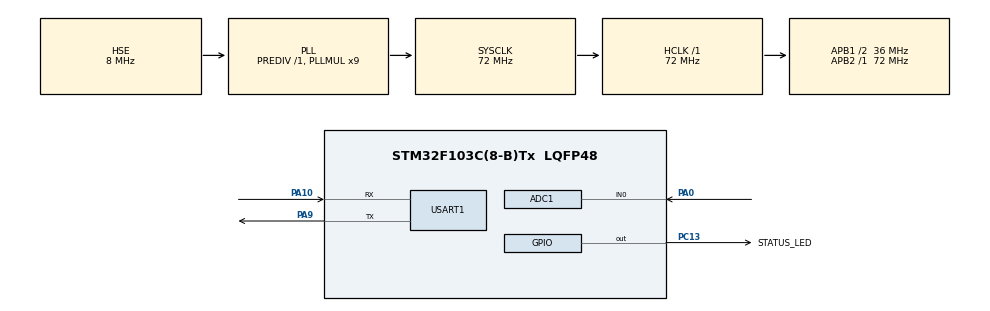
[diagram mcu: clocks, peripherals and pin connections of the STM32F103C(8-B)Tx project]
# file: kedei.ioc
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ADC1.Channel-0\#ChannelRegularConversion=ADC_CHANNEL_0
ADC1.ContinuousConvMode=DISABLE
ADC1.DataAlign=ADC_DATAALIGN_RIGHT
ADC1.DiscontinuousConvMode=DISABLE
ADC1.EnableAnalogWatchDog=false
ADC1.EnableRegularConversion=ENABLE
ADC1.ExternalTrigConv=ADC_EXTERNALTRIGCONV_T3_TRGO
ADC1.InjNumberOfConversion=0
ADC1.NbrOfConversion=1
ADC1.NbrOfConversionFlag=1
ADC1.Rank-0\#ChannelRegularConversion=1
ADC1.SamplingTime-0\#ChannelRegularConversion=ADC_SAMPLETIME_1CYCLE_5
ADC1.ScanConvMode=ADC_SCAN_DISABLE
ADC1.master=1
Dma.MEMTOMEM.0.Direction=DMA_MEMORY_TO_MEMORY
Dma.MEMTOMEM.0.Instance=DMA1_Channel1
Dma.MEMTOMEM.0.MemDataAlignment=DMA_MDATAALIGN_BYTE
Dma.MEMTOMEM.0.MemInc=DMA_MINC_ENABLE
Dma.MEMTOMEM.0.Mode=DMA_NORMAL
Dma.MEMTOMEM.0.PeriphDataAlignment=DMA_PDATAALIGN_BYTE
Dma.MEMTOMEM.0.PeriphInc=DMA_PINC_ENABLE
Dma.MEMTOMEM.0.Priority=DMA_PRIORITY_LOW
Dma.Request0=MEMTOMEM
Mcu.Family=STM32F1
Mcu.Name=STM32F103C(8-B)Tx
Mcu.Package=LQFP48
NVIC.PriorityGroup=NVIC_PRIORITYGROUP_4
NVIC.TIM3_IRQn=true\:0\:0\:false\:false\:true
PA0-WKUP.Signal=ADCx_IN0
PA10.Mode=Asynchronous
PA10.Signal=USART1_RX
PA13.Mode=Serial_Wire
PA13.Signal=SYS_JTMS-SWDIO
PA14.Mode=Serial_Wire
PA14.Signal=SYS_JTCK-SWCLK
PA9.Mode=Asynchronous
PA9.Signal=USART1_TX
PC13-TAMPER-RTC.GPIO_Label=STATUS_LED
PC13-TAMPER-RTC.Signal=GPIO_Output
PD0-OSC_IN.Mode=HSE-External-Oscillator
PD0-OSC_IN.Signal=RCC_OSC_IN
PD1-OSC_OUT.Mode=HSE-External-Oscillator
PD1-OSC_OUT.Signal=RCC_OSC_OUT
ProjectManager.HeapSize=0x200
ProjectManager.StackSize=0x400
ProjectManager.TargetToolchain=Makefile
RCC.ADCPresc=RCC_ADCPCLK2_DIV6
RCC.AHBFreq_Value=72000000
RCC.APB1CLKDivider=RCC_HCLK_DIV2
RCC.APB1Freq_Value=36000000
RCC.APB1TimFreq_Value=72000000
RCC.APB2Freq_Value=72000000
RCC.APB2TimFreq_Value=72000000
RCC.HCLKFreq_Value=72000000
RCC.PLLMUL=RCC_PLL_MUL9
RCC.PLLSourceVirtual=RCC_PLLSOURCE_HSE
RCC.SYSCLKFreq_VALUE=72000000
RCC.SYSCLKSource=RCC_SYSCLKSOURCE_PLLCLK
RCC.USBFreq_Value=72000000
SH.ADCx_IN0.0=ADC1_IN0,IN0
TIM3.Period=10
TIM3.Prescaler=72-1
TIM3.TIM_MasterOutputTrigger=TIM_TRGO_UPDATE
USART1.VirtualMode=VM_ASYNC
VP_TIM3_VS_ClockSourceINT.Mode=Internal
board=kedei

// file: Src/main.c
/**
  ******************************************************************************
  * File Name          : main.c
  * Description        : Main program body
  ******************************************************************************
  ** This notice applies to any and all portions of this file
  * that are not between comment pairs USER CODE BEGIN and
  * USER CODE END. Other portions of this file, whether
  * inserted by the user or by software development tools
  * are owned by their respective copyright owners.
  *
  * COPYRIGHT(c) 2018 STMicroelectronics
  *
  * Redistribution and use in source and binary forms, with or without modification,
  * are permitted provided that the following conditions are met:
  *   1. Redistributions of source code must retain the above copyright notice,
  *      this list of conditions and the following disclaimer.
  *   2. Redistributions in binary form must reproduce the above copyright notice,
  *      this list of conditions and the following disclaimer in the documentation
  *      and/or other materials provided with the distribution.
  *   3. Neither the name of STMicroelectronics nor the names of its contributors
  *      may be used to endorse or promote products derived from this software
  *      without specific prior written permission.
  *
  * THIS SOFTWARE IS PROVIDED BY THE COPYRIGHT HOLDERS AND CONTRIBUTORS "AS IS"
  * AND ANY EXPRESS OR IMPLIED WARRANTIES, INCLUDING, BUT NOT LIMITED TO, THE
  * IMPLIED WARRANTIES OF MERCHANTABILITY AND FITNESS FOR A PARTICULAR PURPOSE ARE
  * DISCLAIMED. IN NO EVENT SHALL THE COPYRIGHT HOLDER OR CONTRIBUTORS BE LIABLE
  * FOR ANY DIRECT, INDIRECT, INCIDENTAL, SPECIAL, EXEMPLARY, OR CONSEQUENTIAL
  * DAMAGES (INCLUDING, BUT NOT LIMITED TO, PROCUREMENT OF SUBSTITUTE GOODS OR
  * SERVICES; LOSS OF USE, DATA, OR PROFITS; OR BUSINESS INTERRUPTION) HOWEVER
  * CAUSED AND ON ANY THEORY OF LIABILITY, WHETHER IN CONTRACT, STRICT LIABILITY,
  * OR TORT (INCLUDING NEGLIGENCE OR OTHERWISE) ARISING IN ANY WAY OUT OF THE USE
  * OF THIS SOFTWARE, EVEN IF ADVISED OF THE POSSIBILITY OF SUCH DAMAGE.
  *
  ******************************************************************************
  */
#include "main.h"
#include "stm32f1xx_hal.h"
#include "adc.h"
#include "dma.h"
#include "tim.h"
#include "usart.h"
#include "gpio.h"

/* USER CODE BEGIN Includes */
#include "SetSysClockTo128.h"
#include "pins_ext.h"
#include "bit_band.h"
#include "soft_spi.h"
#include <math.h>
// #include <stdlib.h>
#include "kedei.h"
#include "xpt2046.h"
#include "draw.h"
#include "utoa.h"

#define M_PI 3.14159

void stled_on(void)
{
  HAL_GPIO_WritePin(STATUS_LED_GPIO_Port, STATUS_LED_Pin, GPIO_PIN_SET);
}

void stled_off(void)
{
  HAL_GPIO_WritePin(STATUS_LED_GPIO_Port, STATUS_LED_Pin, GPIO_PIN_RESET);
}

/* USER CODE END Includes */

/* USER CODE BEGIN PV */
/* Private variables ---------------------------------------------------------*/
uint16_t ofset_ray=18; // vertical ofset ray variable by Src/draw.c
uint16_t accuracy=128; // speed - accuracy ray
uint16_t touch_pressed = 0; // if pressed

extern bitband_t mosi;
extern bitband_t clock;
extern bitband_t miso;
//extern bitband_t lcd_rst;
extern bitband_t lcd_cs;
extern bitband_t lcd_dc;
extern bitband_t tch_cs;

extern bitband_t touch_cs;
extern bitband_t mosi_2;
extern bitband_t miso_2;
extern bitband_t clock_2;

/* USER CODE END PV */

void SystemClock_Config(void);

/* USER CODE BEGIN PFP */
/* Private function prototypes -----------------------------------------------*/

/* USER CODE END PFP */

int main(void)
{

  /* MCU Configuration----------------------------------------------------------*/

  /* Reset of all peripherals, Initializes the Flash interface and the Systick. */
  HAL_Init();

  /* USER CODE BEGIN Init */

/*
connect:
     ----------------------------
   | B5       B9                 | stm32
   |  |        |      |      |   |
   | LCD_CS   T_CS   IRQ    GNG  | kedei spi
   | GND      CLK    MISO   MOSI | kedei spi
   |  |        |      |      |   |
   | GND      B6     B4     B7   | stm32
    -----------------------------
*/

  mosi = BITBAND_PERIPH(&GPIOB->ODR, 7);
  miso = BITBAND_PERIPH(&GPIOB->IDR, 4);
  clock = BITBAND_PERIPH(&GPIOB->ODR, 6);

  lcd_cs = BITBAND_PERIPH(&GPIOB->ODR, 5);
  lcd_dc = BITBAND_PERIPH(&GPIOB->ODR, 8);
  tch_cs = BITBAND_PERIPH(&GPIOB->ODR, 9);

  mosi_2 = BITBAND_PERIPH(&GPIOB->ODR, 7);
  miso_2 = BITBAND_PERIPH(&GPIOB->IDR, 4);
  clock_2 = BITBAND_PERIPH(&GPIOB->ODR, 6);
  touch_cs = BITBAND_PERIPH(&GPIOB->ODR, 9);

  pin_mode(GPIOB, GPIO_PIN_4, GPIO_MODE_INPUT);
  pin_mode(GPIOB, GPIO_PIN_5, GPIO_MODE_OUTPUT_PP);
  pin_mode(GPIOB, GPIO_PIN_6, GPIO_MODE_OUTPUT_PP);
  pin_mode(GPIOB, GPIO_PIN_7, GPIO_MODE_OUTPUT_PP);
  pin_mode(GPIOB, GPIO_PIN_8, GPIO_MODE_OUTPUT_PP);
  pin_mode(GPIOB, GPIO_PIN_9, GPIO_MODE_OUTPUT_PP);

  pin_mode(GPIOA, GPIO_PIN_10, GPIO_MODE_INPUT);
  pin_mode(GPIOA, GPIO_PIN_11, GPIO_MODE_INPUT);
  pin_mode(GPIOA, GPIO_PIN_12, GPIO_MODE_OUTPUT_PP);
  pin_mode(GPIOA, GPIO_PIN_15, GPIO_MODE_OUTPUT_PP);
  pin_mode(GPIOB, GPIO_PIN_3, GPIO_MODE_OUTPUT_PP);

  /* USER CODE END Init */

  /* Configure the system clock */
  SystemClock_Config();

  /* USER CODE BEGIN SysInit */
  HAL_RCC_DeInit();
  SystemClock_Config128();

  /* USER CODE END SysInit */

  /* Initialize all configured peripherals */
  MX_GPIO_Init();
  MX_DMA_Init();
  MX_USART1_UART_Init();
  MX_ADC1_Init();
  MX_TIM3_Init();

  /* USER CODE BEGIN 2 */

  lcd_reset();
  // HAL_GPIO_WritePin(GPIOA, LCD_LED_Pin, GPIO_PIN_SET);
  soft_spi_set_bit_order(SPI_MSB_FIRST);
  soft_spi_set_data_mode(SPI_MODE0);
  soft_spi_set_clock_divider(SPI_CLOCK_DIV64);

  soft_spi_2_set_bit_order(SPI_MSB_FIRST);
  soft_spi_2_set_data_mode(SPI_MODE0);
  soft_spi_2_set_clock_2_divider(SPI_CLOCK_DIV64);

  lcd_begin(/*&hspi1*/);

  /* USER CODE END 2 */

  /* Infinite loop */
  /* USER CODE BEGIN WHILE */

  HAL_TIM_Base_Init(&htim3);
  HAL_TIM_PeriodElapsedCallback(&htim3);
  HAL_TIM_Base_Start_IT(&htim3); // timer run

// HAL_TIM_Base_Init(&htim4);
// HAL_TIM_Base_Start_IT(&htim4); // timer run

  HAL_ADC_Start(&hadc1); // adc run

  // lcd_fillRGB(255,0,0); // test r,g,b
  // lcd_fillRGB(0,255,0);
  // lcd_fillRGB(0,0,255);
  // lcd_setrotation(3);
  draw_statusbar();
  draw_dot_grid();

  while (1)
  {
    //test_touch();
    oscil_run();
  /* USER CODE END WHILE */

  }

}

/** System Clock Configuration
*/
void SystemClock_Config(void)
{

  RCC_OscInitTypeDef RCC_OscInitStruct;
  RCC_ClkInitTypeDef RCC_ClkInitStruct;
  RCC_PeriphCLKInitTypeDef PeriphClkInit;

    /**Initializes the CPU, AHB and APB busses clocks
    */
  RCC_OscInitStruct.OscillatorType = RCC_OSCILLATORTYPE_HSE;
  RCC_OscInitStruct.HSEState = RCC_HSE_ON;
  RCC_OscInitStruct.HSEPredivValue = RCC_HSE_PREDIV_DIV1;
  RCC_OscInitStruct.HSIState = RCC_HSI_ON;
  RCC_OscInitStruct.PLL.PLLState = RCC_PLL_ON;
  RCC_OscInitStruct.PLL.PLLSource = RCC_PLLSOURCE_HSE;
  RCC_OscInitStruct.PLL.PLLMUL = RCC_PLL_MUL9;
  if (HAL_RCC_OscConfig(&RCC_OscInitStruct) != HAL_OK)
  {
    _Error_Handler(__FILE__, __LINE__);
  }

    /**Initializes the CPU, AHB and APB busses clocks
    */
  RCC_ClkInitStruct.ClockType = RCC_CLOCKTYPE_HCLK|RCC_CLOCKTYPE_SYSCLK
                              |RCC_CLOCKTYPE_PCLK1|RCC_CLOCKTYPE_PCLK2;
  RCC_ClkInitStruct.SYSCLKSource = RCC_SYSCLKSOURCE_PLLCLK;
  RCC_ClkInitStruct.AHBCLKDivider = RCC_SYSCLK_DIV1;
  RCC_ClkInitStruct.APB1CLKDivider = RCC_HCLK_DIV2;
  RCC_ClkInitStruct.APB2CLKDivider = RCC_HCLK_DIV1;

  if (HAL_RCC_ClockConfig(&RCC_ClkInitStruct, FLASH_LATENCY_2) != HAL_OK)
  {
    _Error_Handler(__FILE__, __LINE__);
  }

  PeriphClkInit.PeriphClockSelection = RCC_PERIPHCLK_ADC;
  PeriphClkInit.AdcClockSelection = RCC_ADCPCLK2_DIV6;
  if (HAL_RCCEx_PeriphCLKConfig(&PeriphClkInit) != HAL_OK)
  {
    _Error_Handler(__FILE__, __LINE__);
  }

    /**Configure the Systick interrupt time
    */
  HAL_SYSTICK_Config(HAL_RCC_GetHCLKFreq()/1000);

    /**Configure the Systick
    */
  HAL_SYSTICK_CLKSourceConfig(SYSTICK_CLKSOURCE_HCLK);

  /* SysTick_IRQn interrupt configuration */
  HAL_NVIC_SetPriority(SysTick_IRQn, 0, 0);
}

void _Error_Handler(char * file, int line)
{
  while(1)
  {
  }
}

#ifdef USE_FULL_ASSERT

/**
   * @brief Reports the name of the source file and the source line number
   * where the assert_param error has occurred.
   * @param file: pointer to the source file name
   * @param line: assert_param error line source number
   * @retval None
   */
void assert_failed(uint8_t* file, uint32_t line)
{
  /* USER CODE BEGIN 6 */
  /* User can add his own implementation to report the file name and line number,
   *    ex: printf("Wrong parameters value: file %s on line %d\r\n", file, line) */
  /* USER CODE END 6 */

}

#endif

/************************ (C) COPYRIGHT STMicroelectronics *****END OF FILE****/
